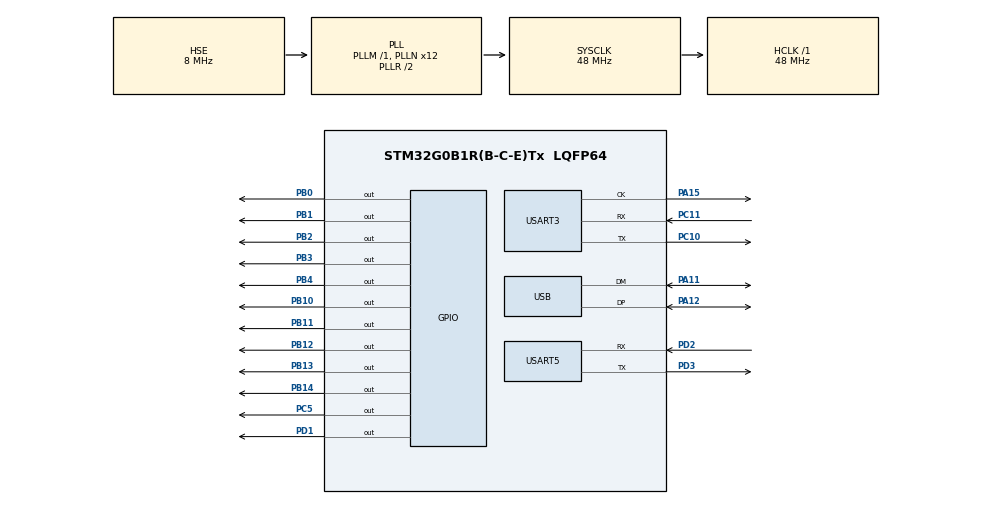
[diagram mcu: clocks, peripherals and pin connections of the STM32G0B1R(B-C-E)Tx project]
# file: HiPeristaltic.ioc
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Dma.Request0=USART5_RX
Dma.Request1=USART5_TX
Dma.USART5_RX.0.Direction=DMA_PERIPH_TO_MEMORY
Dma.USART5_RX.0.EventEnable=DISABLE
Dma.USART5_RX.0.Instance=DMA1_Channel1
Dma.USART5_RX.0.MemDataAlignment=DMA_MDATAALIGN_BYTE
Dma.USART5_RX.0.MemInc=DMA_MINC_ENABLE
Dma.USART5_RX.0.Mode=DMA_CIRCULAR
Dma.USART5_RX.0.PeriphDataAlignment=DMA_PDATAALIGN_BYTE
Dma.USART5_RX.0.PeriphInc=DMA_PINC_DISABLE
Dma.USART5_RX.0.Polarity=HAL_DMAMUX_REQ_GEN_RISING
Dma.USART5_RX.0.Priority=DMA_PRIORITY_LOW
Dma.USART5_RX.0.RequestNumber=1
Dma.USART5_RX.0.SignalID=NONE
Dma.USART5_RX.0.SyncEnable=DISABLE
Dma.USART5_RX.0.SyncPolarity=HAL_DMAMUX_SYNC_NO_EVENT
Dma.USART5_RX.0.SyncRequestNumber=1
Dma.USART5_RX.0.SyncSignalID=NONE
Dma.USART5_TX.1.Direction=DMA_MEMORY_TO_PERIPH
Dma.USART5_TX.1.EventEnable=DISABLE
Dma.USART5_TX.1.Instance=DMA1_Channel2
Dma.USART5_TX.1.MemDataAlignment=DMA_MDATAALIGN_BYTE
Dma.USART5_TX.1.MemInc=DMA_MINC_ENABLE
Dma.USART5_TX.1.Mode=DMA_NORMAL
Dma.USART5_TX.1.PeriphDataAlignment=DMA_PDATAALIGN_BYTE
Dma.USART5_TX.1.PeriphInc=DMA_PINC_DISABLE
Dma.USART5_TX.1.Polarity=HAL_DMAMUX_REQ_GEN_RISING
Dma.USART5_TX.1.Priority=DMA_PRIORITY_LOW
Dma.USART5_TX.1.RequestNumber=1
Dma.USART5_TX.1.SignalID=NONE
Dma.USART5_TX.1.SyncEnable=DISABLE
Dma.USART5_TX.1.SyncPolarity=HAL_DMAMUX_SYNC_NO_EVENT
Dma.USART5_TX.1.SyncRequestNumber=1
Dma.USART5_TX.1.SyncSignalID=NONE
Mcu.Family=STM32G0
Mcu.Name=STM32G0B1R(B-C-E)Tx
Mcu.Package=LQFP64
NVIC.DMA1_Channel1_IRQn=true\:0\:0\:false\:false\:true\:false\:true\:true
NVIC.DMA1_Channel2_3_IRQn=true\:0\:0\:false\:false\:true\:false\:true\:true
NVIC.USART3_4_5_6_LPUART1_IRQn=true\:0\:0\:false\:false\:true\:true\:true\:true
NVIC.USB_UCPD1_2_IRQn=true\:0\:0\:false\:false\:true\:true\:true\:true
PA11\ [PA9].Mode=Device
PA11\ [PA9].Signal=USB_DM
PA12\ [PA10].Mode=Device
PA12\ [PA10].Signal=USB_DP
PA15.Mode=Synchronous
PA15.Signal=USART3_CK
PB0.Signal=GPIO_Output
PB1.Signal=GPIO_Output
PB10.Signal=GPIO_Output
PB11.Signal=GPIO_Output
PB12.Signal=GPIO_Output
PB13.Signal=GPIO_Output
PB14.Signal=GPIO_Output
PB2.Signal=GPIO_Output
PB3.Signal=GPIO_Output
PB4.Signal=GPIO_Output
PC10.Mode=Synchronous
PC10.Signal=USART3_TX
PC11.Mode=Synchronous
PC11.Signal=USART3_RX
PC5.Signal=GPIO_Output
PD1.Signal=GPIO_Output
PD2.Mode=Asynchronous
PD2.Signal=USART5_RX
PD3.Mode=Asynchronous
PD3.Signal=USART5_TX
PF0-OSC_IN\ (PF0).Mode=HSE-External-Oscillator
PF0-OSC_IN\ (PF0).Signal=RCC_OSC_IN
PF1-OSC_OUT\ (PF1).Mode=HSE-External-Oscillator
PF1-OSC_OUT\ (PF1).Signal=RCC_OSC_OUT
ProjectManager.HeapSize=0x200
ProjectManager.StackSize=0x400
ProjectManager.TargetToolchain=STM32CubeIDE
RCC.ADCFreq_Value=48000000
RCC.AHBFreq_Value=48000000
RCC.CortexFreq_Value=48000000
RCC.EXTERNAL_CLOCK_VALUE=48000
RCC.HCLKFreq_Value=48000000
RCC.HSE_VALUE=8000000
RCC.HSI48_VALUE=48000000
RCC.HSI_VALUE=16000000
RCC.LSE_VALUE=32768
RCC.PLLN=12
RCC.PLLSourceVirtual=RCC_PLLSOURCE_HSE
RCC.SYSCLKFreq_VALUE=48000000
RCC.SYSCLKSource=RCC_SYSCLKSOURCE_PLLCLK
RCC.USBCLockSelection=RCC_USBCLKSOURCE_PLL
RCC.USBFreq_Value=48000000
RCC.VCOOutputFreq_Value=96000000
USART3.VirtualMode-Synchronous=VM_SYNC
USART5.VirtualMode-Asynchronous=VM_ASYNC
USB_DEVICE.CLASS_NAME_FS=CDC
USB_DEVICE.VirtualMode=Cdc
USB_DEVICE.VirtualModeFS=Cdc_FS
USB_DRD_FS.Sof_enable=DISABLE
VP_SYS_VS_DBSignals.Mode=DisableDeadBatterySignals
VP_TIM2_VS_ClockSourceINT.Mode=Internal
VP_USB_DEVICE_VS_USB_DEVICE_CDC_FS.Mode=CDC_FS
board=custom

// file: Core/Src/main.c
/* USER CODE BEGIN Header */
/**

  * Copyright 2025 Gun Deniz Akkoc
  *
  * Licensed under the Apache License, Version 2.0 (the "License");
  * you may not use this file except in compliance with the License.
  * You may obtain a copy of the License at
  *
  *    http://www.apache.org/licenses/LICENSE-2.0
  *
  * Unless required by applicable law or agreed to in writing, software
  * distributed under the License is distributed on an "AS IS" BASIS,
  * WITHOUT WARRANTIES OR CONDITIONS OF ANY KIND, either express or implied.
  * See the License for the specific language governing permissions and
  * limitations under the License.
  *
  * https://github.com/gunakkoc/HiPeristaltic

  ******************************************************************************
  * @file           : main.c
  * @brief          : Main program body
  ******************************************************************************
  * @attention
  *
  * Copyright (c) 2025 STMicroelectronics.
  * All rights reserved.
  *
  * This software is licensed under terms that can be found in the LICENSE file
  * in the root directory of this software component.
  * If no LICENSE file comes with this software, it is provided AS-IS.
  *
  ******************************************************************************
  */
/* USER CODE END Header */
#include "main.h"
#include "usb_device.h"

/* USER CODE BEGIN Includes */
#include "usbd_cdc_if.h"
#include "tmc2209_d.h"
#include <stdbool.h>
#include "stm32g0xx_hal.h"
/* USER CODE END Includes */

/* USER CODE BEGIN PTD */
typedef struct {
    GPIO_TypeDef *port;  // Pointer to the GPIO port (e.g., GPIOA, GPIOB)
    uint16_t pin;        // Pin number (0 to 15)
} GPIO_Pin;
/* USER CODE END PTD */

/* USER CODE BEGIN PD */
#define BUFFER_LEN 256
#define UART_BUFFER_LEN 256
#define MSG_LEN 6
#define USB_INTERMSG_DELAY_US 1300 //minimum 1000us for USB polling + 300us for safety
#define UART_INTERMSG_DELAY_US 366 //(MSGLEN / (115200 * 0.8)) * 1000000 = ~66us + 300us for safety
#define SERIAL_INTERBYTE_TIMEOUT_US 500000
#define MOTOR_MIN_PULSE_WIDTH_US 3 //1us for A4988, 2us for DRV8825, ~100ns for TMC2208 and TMC2209

#define tick_now TIM2->CNT
/* USER CODE END PD */

TIM_HandleTypeDef htim2;

USART_HandleTypeDef husart3;
UART_HandleTypeDef huart5;
DMA_HandleTypeDef hdma_usart5_rx;
DMA_HandleTypeDef hdma_usart5_tx;

/* USER CODE BEGIN PV */
extern USBD_HandleTypeDef hUsbDeviceFS;

const uint32_t SUB_US_DIV = 16;
const uint32_t USB_INTERMSG_DELAY = USB_INTERMSG_DELAY_US * SUB_US_DIV;
const uint32_t UART_INTERMSG_DELAY = UART_INTERMSG_DELAY_US * SUB_US_DIV;
const uint32_t SERIAL_INTERBYTE_TIMEOUT = SERIAL_INTERBYTE_TIMEOUT_US * SUB_US_DIV;
const uint32_t MOTOR_MIN_PULSE_WIDTH = MOTOR_MIN_PULSE_WIDTH_US * SUB_US_DIV;
const uint8_t CMD_COUNT = 68;

uint8_t rcv_buffer[BUFFER_LEN];
uint8_t rcv_usb_buffer[BUFFER_LEN];
uint8_t rcv_uart_buffer[UART_BUFFER_LEN];
uint8_t rcv_usb_write_ind = 0;
uint8_t rcv_usb_read_ind = 0;
uint8_t rcv_uart_write_ind = 0;
uint8_t rcv_uart_read_ind = 0;
uint8_t snd_buffer[BUFFER_LEN];
uint8_t rcv_usb_cnt = 0;
uint8_t rcv_uart_cnt = 0;
uint8_t snd_byte_cnt = MSG_LEN + 1;
uint32_t rcv_last_tick = 0;
uint32_t snd_last_tick = 0;
uint8_t checksum = 0;

const uint32_t min2us = 60000000;

uint32_t m0_tick_delta = 0;
uint32_t m1_tick_delta = 0;
uint32_t m2_tick_delta = 0;
uint32_t m3_tick_delta = 0;

// ------- START OF MOTOR PINS AND VARIABLES

// -----------------m0---------------------
const GPIO_Pin m0_enabled_pin = {GPIOB, GPIO_PIN_14};
const GPIO_Pin m0_dir_pin = {GPIOB, GPIO_PIN_12};
const GPIO_Pin m0_step_pin = {GPIOB, GPIO_PIN_13};

bool m0_running = false;
uint32_t m0_tick_last = 0;
uint32_t m0_steps = 0;
uint32_t m0_target_steps = 0;
uint8_t m0_finite_mode = 1; //0 for continuous mode, 1 for finite steps
bool m0_last_pulse = false;

bool m0_enabled_pin_state = true;
bool m0_dir_pin_state = false;
uint32_t m0_step_interval = 4000;

// -----------------m1---------------------
const GPIO_Pin m1_enabled_pin = {GPIOB, GPIO_PIN_11};
const GPIO_Pin m1_dir_pin = {GPIOB, GPIO_PIN_2};
const GPIO_Pin m1_step_pin = {GPIOB, GPIO_PIN_10};

bool m1_running = false;
uint32_t m1_tick_last = 0;
uint32_t m1_steps = 0;
uint32_t m1_target_steps = 0;
uint8_t m1_finite_mode = 1; //0 for continuous mode, 1 for finite steps
bool m1_last_pulse = false;

bool m1_enabled_pin_state = true;
bool m1_dir_pin_state = false;
uint32_t m1_step_interval = 4000;

//-----------------m2---------------------
const GPIO_Pin m2_enabled_pin = {GPIOB, GPIO_PIN_1};
const GPIO_Pin m2_dir_pin = {GPIOC, GPIO_PIN_5};
const GPIO_Pin m2_step_pin = {GPIOB, GPIO_PIN_0};

bool m2_running = false;
uint32_t m2_tick_last = 0;
uint32_t m2_steps = 0;
uint32_t m2_target_steps = 0;
uint8_t m2_finite_mode = 1; //0 for continuous mode, 1 for finite steps
bool m2_last_pulse = false;

bool m2_enabled_pin_state = true;
bool m2_dir_pin_state = false;
uint32_t m2_step_interval = 4000;

//-----------------m3--------------------- //FOR E1: EN D30, DIR D34, STP D36
const GPIO_Pin m3_enabled_pin = {GPIOD, GPIO_PIN_1};
const GPIO_Pin m3_dir_pin = {GPIOB, GPIO_PIN_4};
const GPIO_Pin m3_step_pin = {GPIOB, GPIO_PIN_3};

bool m3_running = false;
uint32_t m3_tick_last = 0;
uint32_t m3_steps = 0;
uint32_t m3_target_steps = 0;
uint8_t m3_finite_mode = 1; //0 for continuous mode, 1 for finite steps
bool m3_last_pulse = false;

bool m3_enabled_pin_state = true;
bool m3_dir_pin_state = false;
uint32_t m3_step_interval = 4000;
// ------- END OF MOTOR PINS AND VARIABLES

//tick_now defined in macro already
//uint32_t tick_now = 0;

// ###################################### Start TMC2209 Variables ######################################
#ifdef TMC2209_driver
extern TMC2209_CONF_t TMC2209_motors[4];
uint8_t TMC2209_ustep_exp_int_temp = 0;
uint32_t TMC2209_ustep_exp_bits_temp = 0;
#endif
// ###################################### END TMC2209 Variables ######################################

/* USER CODE END PV */

void SystemClock_Config(void);
static void MX_GPIO_Init(void);
static void MX_DMA_Init(void);
static void MX_TIM2_Init(void);
static void MX_USART3_Init(void);
static void MX_USART5_UART_Init(void);

/* USER CODE BEGIN 0 */
void motor_timer_init(void)
{
    // Enable TIM2 Clock
    __HAL_RCC_TIM2_CLK_ENABLE();

    // Configure TIM2
    TIM_HandleTypeDef htim2;
    htim2.Instance = TIM2;
    htim2.Init.Prescaler = (SystemCoreClock / (1000000 * SUB_US_DIV)) - 1; // Set prescaler for 1 MHz
    htim2.Init.CounterMode = TIM_COUNTERMODE_UP;
    htim2.Init.Period = 0xFFFFFFFF; // Max value for 32-bit timer
    htim2.Init.ClockDivision = TIM_CLOCKDIVISION_DIV1;
    htim2.Init.AutoReloadPreload = TIM_AUTORELOAD_PRELOAD_DISABLE;

    if (HAL_TIM_Base_Init(&htim2) != HAL_OK)
    {
        // Initialization Error
        while (1);
    }

    // Start Timer
    HAL_TIM_Base_Start(&htim2);
}

uint32_t micros(void)
{
    return TIM2->CNT; // Read the counter value
}

void calc_checksum() {
  //simple 8 bit checksum with XOR
  //appends it as last byte of snd_buffer
  checksum = snd_buffer[0] ^ snd_buffer[1] ^ snd_buffer[2] ^ snd_buffer[3] ^ snd_buffer[4];
  snd_buffer[MSG_LEN - 1] = checksum;
}

bool check_checksum() {
  //simple 8 bit checksum with XOR
  //compares to last byte of rcv_buffer
  checksum = rcv_buffer[0] ^ rcv_buffer[1] ^ rcv_buffer[2] ^ rcv_buffer[3] ^ rcv_buffer[4]; //5 bytes
  return (checksum == rcv_buffer[MSG_LEN - 1]);
}

void send_buffer(){
  calc_checksum();
  snd_byte_cnt = 0;
}

void err_checksum(){
  snd_buffer[0] = 255;
  send_buffer();
}

void err_cmd(){
  snd_buffer[0] = 254;
  send_buffer();
}

void send_ack(){
  snd_buffer[0] = 253;
  send_buffer();
}

void signal_start(){
  snd_buffer[0] = 252;
  snd_buffer[1] = 252;
  snd_buffer[2] = 252;
  snd_buffer[3] = 252;
  snd_buffer[4] = 252;
  send_buffer();
}

void signal_m0_end(){
  snd_buffer[0] = 200;
  send_buffer();
}

void signal_m1_end(){
  snd_buffer[0] = 201;
  send_buffer();
}

void signal_m2_end(){
  snd_buffer[0] = 202;
  send_buffer();
}

void signal_m3_end(){
  snd_buffer[0] = 203;
  send_buffer();
}

void get_m0_running(){
  snd_buffer[1] = m0_running;
  snd_buffer[0] = rcv_buffer[0];
  send_buffer();
}

void set_m0_running(){
  if ((bool) m0_running == (bool) rcv_buffer[1]) {
	    send_ack();
	    return;
  }
  m0_running = rcv_buffer[1];
  if (m0_running) {
    m0_last_pulse = false;
	HAL_GPIO_WritePin(m0_step_pin.port, m0_step_pin.pin, false);
    m0_tick_last = tick_now - m0_step_interval;
  }
  send_ack();
}

void get_m0_steps(){
  memcpy(snd_buffer+1,&m0_steps,4);
  snd_buffer[0] = rcv_buffer[0];
  send_buffer();
}

void set_m0_steps(){
  memcpy(&m0_steps,rcv_buffer+1,4);
  m0_target_steps = m0_steps;
  send_ack();
}

void get_m0_target_steps(){
  memcpy(snd_buffer+1,&m0_target_steps,4);
  snd_buffer[0] = rcv_buffer[0];
  send_buffer();
}

void set_m0_target_steps(){
  memcpy(&m0_target_steps,rcv_buffer+1,4);
  send_ack();
}

void get_m0_step_interval(){
  memcpy(snd_buffer+1,&m0_step_interval,4);
  snd_buffer[0] = rcv_buffer[0];
  send_buffer();
}

void set_m0_step_interval(){
  memcpy(&m0_step_interval,rcv_buffer+1,4);
  send_ack();
}

void get_m0_finite_mode(){
  snd_buffer[1] = m0_finite_mode;
  snd_buffer[0] = rcv_buffer[0];
  send_buffer();
}

void set_m0_finite_mode(){
  m0_finite_mode = rcv_buffer[1];
  send_ack();
}

void get_m0_dir(){
  snd_buffer[1] = m0_dir_pin_state;
  snd_buffer[0] = rcv_buffer[0];
  send_buffer();
}

void set_m0_dir(){
  m0_dir_pin_state = rcv_buffer[1];
  HAL_GPIO_WritePin(m0_dir_pin.port, m0_dir_pin.pin, m0_dir_pin_state);
  send_ack();
}

void get_m0_enabled(){
  snd_buffer[1] = !m0_enabled_pin_state;
  snd_buffer[0] = rcv_buffer[0];
  send_buffer();
}

void set_m0_enabled(){
  m0_enabled_pin_state = !rcv_buffer[1];
  HAL_GPIO_WritePin(m0_enabled_pin.port, m0_enabled_pin.pin, m0_enabled_pin_state);
  send_ack();
}

void get_m1_running(){
  snd_buffer[1] = m1_running;
  snd_buffer[0] = rcv_buffer[0];
  send_buffer();
}

void set_m1_running(){
  if ((bool) m1_running == (bool) rcv_buffer[1]) {
		send_ack();
		return;
  }
  m1_running = rcv_buffer[1];
  if (m1_running) {
    m1_last_pulse = false;
    HAL_GPIO_WritePin(m1_step_pin.port, m1_step_pin.pin, false);
    m1_tick_last = tick_now - m1_step_interval;
  }
  send_ack();
}

void get_m1_steps(){
  memcpy(snd_buffer+1,&m1_steps,4);
  snd_buffer[0] = rcv_buffer[0];
  send_buffer();
}

void set_m1_steps(){
  memcpy(&m1_steps,rcv_buffer+1,4);
  m1_target_steps = m1_steps;
  send_ack();
}

void get_m1_target_steps(){
  memcpy(snd_buffer+1,&m1_target_steps,4);
  snd_buffer[0] = rcv_buffer[0];
  send_buffer();
}

void set_m1_target_steps(){
  memcpy(&m1_target_steps,rcv_buffer+1,4);
  send_ack();
}

void get_m1_step_interval(){
  memcpy(snd_buffer+1,&m1_step_interval,4);
  snd_buffer[0] = rcv_buffer[0];
  send_buffer();
}

void set_m1_step_interval(){
  memcpy(&m1_step_interval,rcv_buffer+1,4);
  send_ack();
}

void get_m1_finite_mode(){
  snd_buffer[1] = m1_finite_mode;
  snd_buffer[0] = rcv_buffer[0];
  send_buffer();
}

void set_m1_finite_mode(){
  m1_finite_mode = rcv_buffer[1];
  send_ack();
}

void get_m1_dir(){
  snd_buffer[1] = m1_dir_pin_state;
  snd_buffer[0] = rcv_buffer[0];
  send_buffer();
}

void set_m1_dir(){
  m1_dir_pin_state = rcv_buffer[1];
  HAL_GPIO_WritePin(m1_dir_pin.port, m1_dir_pin.pin, m1_dir_pin_state);
  send_ack();
}

void get_m1_enabled(){
  snd_buffer[1] = !m1_enabled_pin_state;
  snd_buffer[0] = rcv_buffer[0];
  send_buffer();
}

void set_m1_enabled(){
  m1_enabled_pin_state = !rcv_buffer[1];
  HAL_GPIO_WritePin(m1_enabled_pin.port, m1_enabled_pin.pin, m1_enabled_pin_state);
  send_ack();
}

void get_m2_running(){
  snd_buffer[1] = m2_running;
  snd_buffer[0] = rcv_buffer[0];
  send_buffer();
}

void set_m2_running(){
  if ((bool) m2_running == (bool) rcv_buffer[1]) {
		send_ack();
		return;
  }
  m2_running = rcv_buffer[1];
  if (m2_running) {
    m2_last_pulse = false;
	HAL_GPIO_WritePin(m2_step_pin.port, m2_step_pin.pin, false);
    m2_tick_last = tick_now - m2_step_interval;
  }
  send_ack();
}

void get_m2_steps(){
  memcpy(snd_buffer+1,&m2_steps,4);
  snd_buffer[0] = rcv_buffer[0];
  send_buffer();
}

void set_m2_steps(){
  memcpy(&m2_steps,rcv_buffer+1,4);
  m2_target_steps = m2_steps;
  send_ack();
}

void get_m2_target_steps(){
  memcpy(snd_buffer+1,&m2_target_steps,4);
  snd_buffer[0] = rcv_buffer[0];
  send_buffer();
}

void set_m2_target_steps(){
  memcpy(&m2_target_steps,rcv_buffer+1,4);
  send_ack();
}

void get_m2_step_interval(){
  memcpy(snd_buffer+1,&m2_step_interval,4);
  snd_buffer[0] = rcv_buffer[0];
  send_buffer();
}

void set_m2_step_interval(){
  memcpy(&m2_step_interval,rcv_buffer+1,4);
  send_ack();
}

void get_m2_finite_mode(){
  snd_buffer[1] = m2_finite_mode;
  snd_buffer[0] = rcv_buffer[0];
  send_buffer();
}

void set_m2_finite_mode(){
  m2_finite_mode = rcv_buffer[1];
  send_ack();
}

void get_m2_dir(){
  snd_buffer[1] = m2_dir_pin_state;
  snd_buffer[0] = rcv_buffer[0];
  send_buffer();
}

void set_m2_dir(){
  m2_dir_pin_state = rcv_buffer[1];
  HAL_GPIO_WritePin(m2_dir_pin.port, m2_dir_pin.pin, m2_dir_pin_state);
  send_ack();
}

void get_m2_enabled(){
  snd_buffer[1] = !m2_enabled_pin_state;
  snd_buffer[0] = rcv_buffer[0];
  send_buffer();
}

void set_m2_enabled(){
  m2_enabled_pin_state = !rcv_buffer[1];
  HAL_GPIO_WritePin(m2_enabled_pin.port, m2_enabled_pin.pin, m2_enabled_pin_state);
  send_ack();
}

void get_m3_running(){
  snd_buffer[1] = m3_running;
  snd_buffer[0] = rcv_buffer[0];
  send_buffer();
}

void set_m3_running(){
  if ((bool) m3_running == (bool) rcv_buffer[1]) {
		send_ack();
		return;
  }
  m3_running = rcv_buffer[1];
  if (m3_running) {
    m3_last_pulse = false;
	HAL_GPIO_WritePin(m3_step_pin.port, m3_step_pin.pin, false);
    m3_tick_last = tick_now - m3_step_interval;
  }
  send_ack();
}

void get_m3_steps(){
  memcpy(snd_buffer+1,&m3_steps,4);
  snd_buffer[0] = rcv_buffer[0];
  send_buffer();
}

void set_m3_steps(){
  memcpy(&m3_steps,rcv_buffer+1,4);
  m3_target_steps = m3_steps;
  send_ack();
}

void get_m3_target_steps(){
  memcpy(snd_buffer+1,&m3_target_steps,4);
  snd_buffer[0] = rcv_buffer[0];
  send_buffer();
}

void set_m3_target_steps(){
  memcpy(&m3_target_steps,rcv_buffer+1,4);
  send_ack();
}

void get_m3_step_interval(){
  memcpy(snd_buffer+1,&m3_step_interval,4);
  snd_buffer[0] = rcv_buffer[0];
  send_buffer();
}

void set_m3_step_interval(){
  memcpy(&m3_step_interval,rcv_buffer+1,4);
  send_ack();
}

void get_m3_finite_mode(){
  snd_buffer[1] = m3_finite_mode;
  snd_buffer[0] = rcv_buffer[0];
  send_buffer();
}

void set_m3_finite_mode(){
  m3_finite_mode = rcv_buffer[1];
  send_ack();
}

void get_m3_dir(){
  snd_buffer[1] = m3_dir_pin_state;
  snd_buffer[0] = rcv_buffer[0];
  send_buffer();
}

void set_m3_dir(){
  m3_dir_pin_state = rcv_buffer[1];
  HAL_GPIO_WritePin(m3_dir_pin.port, m3_dir_pin.pin, m3_dir_pin_state);
  send_ack();
}

void get_m3_enabled(){
  snd_buffer[1] = !m3_enabled_pin_state;
  snd_buffer[0] = rcv_buffer[0];
  send_buffer();
}

void set_m3_enabled(){
  m3_enabled_pin_state = !rcv_buffer[1];
  HAL_GPIO_WritePin(m3_enabled_pin.port, m3_enabled_pin.pin, m3_enabled_pin_state);
  send_ack();
}

//variable microstepping is supported through TMC2209 UART for SKR Mini e3 v3
void get_m0_var_ustep_support(){
    snd_buffer[1] = true;
    snd_buffer[0] = rcv_buffer[0];
    send_buffer();
}

void get_m1_var_ustep_support(){
    snd_buffer[1] = true;
    snd_buffer[0] = rcv_buffer[0];
    send_buffer();
}

void get_m2_var_ustep_support(){
    snd_buffer[1] = true;
    snd_buffer[0] = rcv_buffer[0];
    send_buffer();
}

void get_m3_var_ustep_support(){
    snd_buffer[1] = true;
    snd_buffer[0] = rcv_buffer[0];
    send_buffer();
}

// ###################################### Start TMC2209 Commands ######################################

uint8_t TMC2209_usteps_exp_bits_to_int(uint32_t ustep){
	if (ustep == TMC2209_MSTEP1) {return 0;}
	if (ustep == TMC2209_MSTEP2) {return 1;}
	if (ustep == TMC2209_MSTEP4) {return 2;}
	if (ustep == TMC2209_MSTEP8) {return 3;}
	if (ustep == TMC2209_MSTEP16) {return 4;}
	if (ustep == TMC2209_MSTEP32) {return 5;}
	if (ustep == TMC2209_MSTEP64) {return 6;}
	if (ustep == TMC2209_MSTEP128) {return 7;}
	if (ustep == TMC2209_MSTEP256) {return 8;}
	return 4;
}

uint8_t TMC2209_usteps_exp_int_to_bits[] = {TMC2209_MSTEP1,TMC2209_MSTEP2,TMC2209_MSTEP4,TMC2209_MSTEP8,TMC2209_MSTEP16,TMC2209_MSTEP32,TMC2209_MSTEP64,TMC2209_MSTEP128,TMC2209_MSTEP256};

void get_m0_usteps_exp(){
  TMC2209_ustep_exp_int_temp = TMC2209_usteps_exp_bits_to_int(TMC2209_motors[0].CHOPCONF.fields.mres);
  snd_buffer[1] = TMC2209_ustep_exp_int_temp;
  snd_buffer[0] = rcv_buffer[0];
  send_buffer();
}

void set_m0_usteps_exp(){
  TMC2209_motors[0].CHOPCONF.fields.mres = TMC2209_usteps_exp_int_to_bits[rcv_buffer[1]];
  TMC2209_WriteRegister(TMC2209_motors[0].addr_motor, reg_CHOPCONF, TMC2209_motors[0].CHOPCONF.val);
  send_ack();
}

void get_m1_usteps_exp(){
  TMC2209_ustep_exp_int_temp = TMC2209_usteps_exp_bits_to_int(TMC2209_motors[1].CHOPCONF.fields.mres);
  snd_buffer[1] = TMC2209_ustep_exp_int_temp;
  snd_buffer[0] = rcv_buffer[0];
  send_buffer();
}

void set_m1_usteps_exp(){
  TMC2209_motors[1].CHOPCONF.fields.mres = TMC2209_usteps_exp_int_to_bits[rcv_buffer[1]];
  TMC2209_WriteRegister(TMC2209_motors[1].addr_motor, reg_CHOPCONF, TMC2209_motors[1].CHOPCONF.val);
  send_ack();
}

void get_m2_usteps_exp(){
  TMC2209_ustep_exp_int_temp = TMC2209_usteps_exp_bits_to_int(TMC2209_motors[2].CHOPCONF.fields.mres);
  snd_buffer[1] = TMC2209_ustep_exp_int_temp;
  snd_buffer[0] = rcv_buffer[0];
  send_buffer();
}

void set_m2_usteps_exp(){
  TMC2209_motors[2].CHOPCONF.fields.mres = TMC2209_usteps_exp_int_to_bits[rcv_buffer[1]];
  TMC2209_WriteRegister(TMC2209_motors[2].addr_motor, reg_CHOPCONF, TMC2209_motors[2].CHOPCONF.val);
  send_ack();
}

void get_m3_usteps_exp(){
  TMC2209_ustep_exp_int_temp = TMC2209_usteps_exp_bits_to_int(TMC2209_motors[3].CHOPCONF.fields.mres);
  snd_buffer[1] = TMC2209_ustep_exp_int_temp;
  snd_buffer[0] = rcv_buffer[0];
  send_buffer();
}

void set_m3_usteps_exp(){
  TMC2209_motors[3].CHOPCONF.fields.mres = TMC2209_usteps_exp_int_to_bits[rcv_buffer[1]];
  TMC2209_WriteRegister(TMC2209_motors[3].addr_motor, reg_CHOPCONF, TMC2209_motors[3].CHOPCONF.val);
  send_ack();
}
// ###################################### End TMC2209 Commands #######################################

void get_sub_us_divider(){
  memcpy(snd_buffer+1,&SUB_US_DIV,4);
  snd_buffer[0] = rcv_buffer[0];
  send_buffer();
}

void (*cmd_fnc_lst[])() = {
  &get_m0_running,
  &set_m0_running,
  &get_m0_steps,
  &set_m0_steps,
  &get_m0_target_steps,
  &set_m0_target_steps,
  &get_m0_step_interval,
  &set_m0_step_interval,
  &get_m0_finite_mode,
  &set_m0_finite_mode,
  &get_m0_dir,
  &set_m0_dir,
  &get_m0_enabled,
  &set_m0_enabled,
  &get_m1_running,
  &set_m1_running,
  &get_m1_steps,
  &set_m1_steps,
  &get_m1_target_steps,
  &set_m1_target_steps,
  &get_m1_step_interval,
  &set_m1_step_interval,
  &get_m1_finite_mode,
  &set_m1_finite_mode,
  &get_m1_dir,
  &set_m1_dir,
  &get_m1_enabled,
  &set_m1_enabled,
  &get_m2_running,
  &set_m2_running,
  &get_m2_steps,
  &set_m2_steps,
  &get_m2_target_steps,
  &set_m2_target_steps,
  &get_m2_step_interval,
  &set_m2_step_interval,
  &get_m2_finite_mode,
  &set_m2_finite_mode,
  &get_m2_dir,
  &set_m2_dir,
  &get_m2_enabled,
  &set_m2_enabled,
  &get_m3_running,
  &set_m3_running,
  &get_m3_steps,
  &set_m3_steps,
  &get_m3_target_steps,
  &set_m3_target_steps,
  &get_m3_step_interval,
  &set_m3_step_interval,
  &get_m3_finite_mode,
  &set_m3_finite_mode,
  &get_m3_dir,
  &set_m3_dir,
  &get_m3_enabled,
  &set_m3_enabled,
  &get_m0_var_ustep_support,
  &get_m1_var_ustep_support,
  &get_m2_var_ustep_support,
  &get_m3_var_ustep_support,
  &get_m0_usteps_exp,
  &set_m0_usteps_exp,
  &get_m1_usteps_exp,
  &set_m1_usteps_exp,
  &get_m2_usteps_exp,
  &set_m2_usteps_exp,
  &get_m3_usteps_exp,
  &set_m3_usteps_exp,
  &get_sub_us_divider,
};

bool process_commands_usb() {
  if (snd_byte_cnt < MSG_LEN){ //data needs sending
	  /*
	  if (snd_byte_cnt){ //if first byte no need delay checking, already flushed
		  if ((tick_now - snd_last_tick) <= USB_INTERMSG_DELAY) { //otherwise need to wait 1ms between transfers
			  return false; //wait if this time hasn't elapsed yet
		  }
	  }
	  CDC_Transmit_FS(&snd_buffer[snd_byte_cnt], 1);
      snd_byte_cnt++;
      */
	  CDC_Transmit_FS(snd_buffer, MSG_LEN);
      snd_last_tick = tick_now;
      snd_byte_cnt = MSG_LEN;
	  return true;
  } else if (snd_byte_cnt == MSG_LEN){ //all data have been sent, now needs flushing
	  if ((tick_now - snd_last_tick) <= USB_INTERMSG_DELAY) { //wait 1ms+ to flush
		  return false; //wait if this time hasn't elapsed yet
	  }
    snd_byte_cnt++; //everything flushed, we can move on
    return true;
  } else if (rcv_usb_cnt == MSG_LEN){ //entire package is received, process
    rcv_usb_cnt = 0;
    if (check_checksum()){
      if (rcv_buffer[0] > CMD_COUNT) {
    	  err_cmd();
    	  return true;
      }
      cmd_fnc_lst[rcv_buffer[0]](); //find the corresponding func by first byte as uint8
    } else {
      err_checksum();
    }
    return true; //continue reading (if any) on next cycle
  } else if (rcv_usb_write_ind - rcv_usb_read_ind){ //if nothing else to do and need reading
    rcv_last_tick = tick_now;
	rcv_buffer[rcv_usb_cnt] = rcv_usb_buffer[rcv_usb_read_ind];
	rcv_usb_read_ind++;
    rcv_usb_cnt++;
    return true;
  } else if ((rcv_usb_cnt) && ((tick_now - rcv_last_tick) > SERIAL_INTERBYTE_TIMEOUT)){ //inter-byte timeout
   	  rcv_usb_read_ind = rcv_usb_write_ind;
   	  rcv_usb_cnt = 0;
   	  return true;
  } else {
    return false; //nothing happened
  }
}

bool process_commands_uart() {
  if (snd_byte_cnt < MSG_LEN){ //data needs sending
	  //we can also send one byte at a time
	  //but with DMA, start sending all at once
	  //this DMA is not circular
	  HAL_UART_Transmit_DMA(&huart5, snd_buffer, MSG_LEN);
      snd_last_tick = tick_now;
      snd_byte_cnt = MSG_LEN;
	  return true;
  } else if (snd_byte_cnt == MSG_LEN){ //all data have been sent, now needs flushing
	  //in case of UART, UART tx completed signal
      return true; //return here to wait next cycle for the signal
  } else if (rcv_uart_cnt == MSG_LEN){ //entire package is received, process
    rcv_uart_cnt = 0;
    if (check_checksum()){
      if (rcv_buffer[0] > CMD_COUNT) {
    	  err_cmd();
    	  return true;
      }
      cmd_fnc_lst[rcv_buffer[0]](); //find the corresponding func by first byte as uint8
    } else {
      err_checksum();
    }
    return true; //continue reading (if any) on next cycle
  } else if (rcv_uart_write_ind - rcv_uart_read_ind){ //if nothing else to do and need reading
	rcv_last_tick = tick_now;
	rcv_buffer[rcv_uart_cnt] = rcv_uart_buffer[rcv_uart_read_ind];
	rcv_uart_read_ind++;
    rcv_uart_cnt++;
    return true;
  } else if ((rcv_uart_cnt) && ((tick_now - rcv_last_tick) > SERIAL_INTERBYTE_TIMEOUT)) {
	  rcv_uart_read_ind = rcv_uart_write_ind;
	  rcv_uart_cnt = 0;
  } else {
    return false; //nothing happened
  }
  return false; //nothing happened
}

// ###################################### Start TMC2209 Functions ######################################
/*
#ifdef TMC2209_driver

//both async mode and UART interrupts needs to be enabled for async receive
void HAL_UART_RxCpltCallback(UART_HandleTypeDef *huart) {
    if (huart->Instance == USART3) {  // Check if it's the correct UART
        TMC2209_write_ind++; //serves as signal that the transmission is completed.
    }
}

#endif
*/
// ###################################### END TMC2209 Functions ######################################

void m0step() {
  if (!m0_running){
    return;
  }
  if (m0_steps) {
    m0_tick_delta = (tick_now - m0_tick_last);
    if (m0_last_pulse) { //if high switch to low
      if (m0_tick_delta >= MOTOR_MIN_PULSE_WIDTH) { //check for min. motor driver pulse width
        m0_last_pulse = false;
	    HAL_GPIO_WritePin(m0_step_pin.port, m0_step_pin.pin, false);
        // return;
      } //else return;
    } else if (m0_tick_delta >= m0_step_interval) { //if low, check enough time has passed for high
      HAL_GPIO_WritePin(m0_step_pin.port, m0_step_pin.pin, true);
      m0_tick_last = tick_now;
      m0_last_pulse = true;
      m0_steps-=m0_finite_mode; //0 for continuous mode, 1 for finite steps
      // return;
    }
  } else if (m0_last_pulse) {
	  if (m0_tick_delta >= MOTOR_MIN_PULSE_WIDTH) {
		m0_last_pulse = false;
		HAL_GPIO_WritePin(m0_step_pin.port, m0_step_pin.pin, false);
	  }
  } else if (snd_byte_cnt > MSG_LEN) { //if no steps remaining and no message pending
      m0_running = false; //this will prevent reentering here
      signal_m0_end();
      // return;
  }
}

void m1step() {
  if (!m1_running){
    return;
  }
  if (m1_steps) {
    m1_tick_delta = (tick_now - m1_tick_last);
    if (m1_last_pulse) { //if high switch to low
      if (m1_tick_delta >= MOTOR_MIN_PULSE_WIDTH) { //check for min. motor driver pulse width
        m1_last_pulse = false;
	    HAL_GPIO_WritePin(m1_step_pin.port, m1_step_pin.pin, false);
        // return;
      } //else return;
    } else if (m1_tick_delta >= m1_step_interval) { //if low, check enough time has passed for high
      HAL_GPIO_WritePin(m1_step_pin.port, m1_step_pin.pin, true);
      m1_tick_last = tick_now;
      m1_last_pulse = true;
      m1_steps-=m1_finite_mode; //0 for continuous mode, 1 for finite steps
      // return;
    }
  } else if (m1_last_pulse) {
	  if (m1_tick_delta >= MOTOR_MIN_PULSE_WIDTH) {
		m1_last_pulse = false;
		HAL_GPIO_WritePin(m1_step_pin.port, m1_step_pin.pin, false);
	  }
  } else if (snd_byte_cnt > MSG_LEN) { //if no steps remaining and no message pending
      m1_running = false; //this will prevent reentering here
      signal_m1_end();
      // return;
  }
}

void m2step() {
  if (!m2_running){
    return;
  }
  if (m2_steps) {
    m2_tick_delta = (tick_now - m2_tick_last);
    if (m2_last_pulse) { //if high switch to low
      if (m2_tick_delta >= MOTOR_MIN_PULSE_WIDTH) { //check for min. motor driver pulse width
        m2_last_pulse = false;
	    HAL_GPIO_WritePin(m2_step_pin.port, m2_step_pin.pin, false);
        // return;
      } //else return;
    } else if (m2_tick_delta >= m2_step_interval) { //if low, check enough time has passed for high
      HAL_GPIO_WritePin(m2_step_pin.port, m2_step_pin.pin, true);
      m2_tick_last = tick_now;
      m2_last_pulse = true;
      m2_steps-=m2_finite_mode; //0 for continuous mode, 1 for finite steps
      // return;
    }
  } else if (m2_last_pulse) {
	  if (m2_tick_delta >= MOTOR_MIN_PULSE_WIDTH) {
		m2_last_pulse = false;
		HAL_GPIO_WritePin(m2_step_pin.port, m2_step_pin.pin, false);
	  }
  } else if (snd_byte_cnt > MSG_LEN) { //if no steps remaining and no message pending
      m2_running = false; //this will prevent reentering here
      signal_m2_end();
      // return;
  }
}

void m3step() {
  if (!m3_running){
    return;
  }
  if (m3_steps) {
    m3_tick_delta = (tick_now - m3_tick_last);
    if (m3_last_pulse) { //if high switch to low
      if (m3_tick_delta >= MOTOR_MIN_PULSE_WIDTH) { //check for min. motor driver pulse width
        m3_last_pulse = false;
	    HAL_GPIO_WritePin(m3_step_pin.port, m3_step_pin.pin, false);
        // return;
      } //else return;
    } else if (m3_tick_delta >= m3_step_interval) { //if low, check enough time has passed for high
      HAL_GPIO_WritePin(m3_step_pin.port, m3_step_pin.pin, true);
      m3_tick_last = tick_now;
      m3_last_pulse = true;
      m3_steps-=m3_finite_mode; //0 for continuous mode, 1 for finite steps
      // return;
    }
  } else if (m3_last_pulse) {
	  if (m3_tick_delta >= MOTOR_MIN_PULSE_WIDTH) {
		m3_last_pulse = false;
		HAL_GPIO_WritePin(m3_step_pin.port, m3_step_pin.pin, false);
	  }
  } else if (snd_byte_cnt > MSG_LEN) { //if no steps remaining and no message pending
      m3_running = false; //this will prevent reentering here
      signal_m3_end();
      // return;
  }
}

void HAL_UARTEx_RxEventCallback(UART_HandleTypeDef *huart, uint16_t Size) {
	if (huart->Instance == USART5){
		rcv_uart_write_ind = (uint8_t) Size; //here size is the position in the buffer, NOT the number of bytes read
	}
}

void HAL_UART_TxCpltCallback(UART_HandleTypeDef *huart) {
  if (huart->Instance == USART5) { //UART serial to PC
	  snd_byte_cnt = MSG_LEN + 1; //values > MSG_LEN means tx completed/flushed
  }
}

void setup() {

  //HAL_UART_Receive_DMA(&huart5, rcv_uart_buffer, MSG_LEN); //for normal DMA
  //HAL_UART_Receive_DMA(&huart5, rcv_uart_buffer, UART_BUFFER_LEN); //never stops with circular DMA
  HAL_UARTEx_ReceiveToIdle_DMA(&huart5, rcv_uart_buffer, UART_BUFFER_LEN); //triggers rx callback when idle OR buffer filled

  //-----MOTOR SETUP-------

  //-----------------M0---------------------
  HAL_GPIO_WritePin(m0_enabled_pin.port, m0_enabled_pin.pin, true);
  m0_dir_pin_state = true;
  HAL_GPIO_WritePin(m0_dir_pin.port, m0_dir_pin.pin, true);
  HAL_GPIO_WritePin(m0_step_pin.port, m0_step_pin.pin, false);
  m0_enabled_pin_state = false;
  HAL_GPIO_WritePin(m0_enabled_pin.port, m0_enabled_pin.pin, false);

  //-----------------M1---------------------
  HAL_GPIO_WritePin(m1_enabled_pin.port, m1_enabled_pin.pin, true);
  m1_dir_pin_state = true;
  HAL_GPIO_WritePin(m1_dir_pin.port, m1_dir_pin.pin, true);
  HAL_GPIO_WritePin(m1_step_pin.port, m1_step_pin.pin, false);
  m1_enabled_pin_state = false;
  HAL_GPIO_WritePin(m1_enabled_pin.port, m1_enabled_pin.pin, false);

  //-----------------m2---------------------
  HAL_GPIO_WritePin(m2_enabled_pin.port, m2_enabled_pin.pin, true);
  m2_dir_pin_state = true;
  HAL_GPIO_WritePin(m2_dir_pin.port, m2_dir_pin.pin, true);
  HAL_GPIO_WritePin(m2_step_pin.port, m2_step_pin.pin, false);
  m2_enabled_pin_state = false;
  HAL_GPIO_WritePin(m2_enabled_pin.port, m2_enabled_pin.pin, false);

  //-----------------m3---------------------
  HAL_GPIO_WritePin(m3_enabled_pin.port, m3_enabled_pin.pin, true);
  m3_dir_pin_state = true;
  HAL_GPIO_WritePin(m3_dir_pin.port, m3_dir_pin.pin, true);
  HAL_GPIO_WritePin(m3_step_pin.port, m3_step_pin.pin, false);
  m3_enabled_pin_state = false;
  HAL_GPIO_WritePin(m3_enabled_pin.port, m3_enabled_pin.pin, false);
  //-----------------------

  motor_timer_init();

  //tick_now = micros();

#ifdef TMC2209_driver
  TMC2209_Init(husart3);
#endif

  //signal_start();
}

/* USER CODE END 0 */

int main(void)
{

  /* MCU Configuration--------------------------------------------------------*/

  /* Reset of all peripherals, Initializes the Flash interface and the Systick. */
  HAL_Init();

  /* Configure the system clock */
  SystemClock_Config();

  /* Initialize all configured peripherals */
  MX_GPIO_Init();
  MX_DMA_Init();
  MX_USB_Device_Init();
  MX_TIM2_Init();
  MX_USART3_Init();
  MX_USART5_UART_Init();
  /* USER CODE BEGIN 2 */
  HAL_Delay(10);
  setup();
  HAL_Delay(10);
  /* USER CODE END 2 */

  /* Infinite loop */
  while (1)
  {

    /* USER CODE BEGIN 3 */

	  while (1){ //UART5 serial (115200)
		//tick_now defined in macro
		//tick_now = micros();
		if (hUsbDeviceFS.dev_state == USBD_STATE_CONFIGURED) { //since no VBUS sensing is possible on STM32G0
			HAL_UART_DeInit(&huart5);
			HAL_NVIC_DisableIRQ(DMA1_Channel1_IRQn);
			HAL_NVIC_DisableIRQ(DMA1_Channel2_3_IRQn);
			snd_byte_cnt = MSG_LEN + 1; //reset the send state, in case mid message.
			break; //as soon as USB is connected, switch to USB serial
			//otherwise stay on UART5
		}
		//Communicate
		process_commands_uart();
		//Step the motor if it is running and if delta time has passed
		m0step();
		m1step();
		m2step();
		m3step();
	  }

	  while (1){ //USB serial
		//tick_now defined in macro
		//tick_now = micros();
		//Communicate
		process_commands_usb();
		//Step the motor if it is running and if delta time has passed
		m0step();
		m1step();
		m2step();
		m3step();
	  }

  }
  /* USER CODE END 3 */
}

void SystemClock_Config(void)
{
  RCC_OscInitTypeDef RCC_OscInitStruct = {0};
  RCC_ClkInitTypeDef RCC_ClkInitStruct = {0};

  /** Configure the main internal regulator output voltage
  */
  HAL_PWREx_ControlVoltageScaling(PWR_REGULATOR_VOLTAGE_SCALE1);

  /** Initializes the RCC Oscillators according to the specified parameters
  * in the RCC_OscInitTypeDef structure.
  */
  RCC_OscInitStruct.OscillatorType = RCC_OSCILLATORTYPE_HSE;
  RCC_OscInitStruct.HSEState = RCC_HSE_ON;
  RCC_OscInitStruct.PLL.PLLState = RCC_PLL_ON;
  RCC_OscInitStruct.PLL.PLLSource = RCC_PLLSOURCE_HSE;
  RCC_OscInitStruct.PLL.PLLM = RCC_PLLM_DIV1;
  RCC_OscInitStruct.PLL.PLLN = 12;
  RCC_OscInitStruct.PLL.PLLP = RCC_PLLP_DIV2;
  RCC_OscInitStruct.PLL.PLLQ = RCC_PLLQ_DIV2;
  RCC_OscInitStruct.PLL.PLLR = RCC_PLLR_DIV2;
  if (HAL_RCC_OscConfig(&RCC_OscInitStruct) != HAL_OK)
  {
    Error_Handler();
  }

  /** Initializes the CPU, AHB and APB buses clocks
  */
  RCC_ClkInitStruct.ClockType = RCC_CLOCKTYPE_HCLK|RCC_CLOCKTYPE_SYSCLK
                              |RCC_CLOCKTYPE_PCLK1;
  RCC_ClkInitStruct.SYSCLKSource = RCC_SYSCLKSOURCE_PLLCLK;
  RCC_ClkInitStruct.AHBCLKDivider = RCC_SYSCLK_DIV1;
  RCC_ClkInitStruct.APB1CLKDivider = RCC_HCLK_DIV1;

  if (HAL_RCC_ClockConfig(&RCC_ClkInitStruct, FLASH_LATENCY_1) != HAL_OK)
  {
    Error_Handler();
  }
}

static void MX_TIM2_Init(void)
{

  TIM_ClockConfigTypeDef sClockSourceConfig = {0};
  TIM_MasterConfigTypeDef sMasterConfig = {0};

  htim2.Instance = TIM2;
  htim2.Init.Prescaler = 0;
  htim2.Init.CounterMode = TIM_COUNTERMODE_UP;
  htim2.Init.Period = 4294967295;
  htim2.Init.ClockDivision = TIM_CLOCKDIVISION_DIV1;
  htim2.Init.AutoReloadPreload = TIM_AUTORELOAD_PRELOAD_DISABLE;
  if (HAL_TIM_Base_Init(&htim2) != HAL_OK)
  {
    Error_Handler();
  }
  sClockSourceConfig.ClockSource = TIM_CLOCKSOURCE_INTERNAL;
  if (HAL_TIM_ConfigClockSource(&htim2, &sClockSourceConfig) != HAL_OK)
  {
    Error_Handler();
  }
  sMasterConfig.MasterOutputTrigger = TIM_TRGO_RESET;
  sMasterConfig.MasterSlaveMode = TIM_MASTERSLAVEMODE_DISABLE;
  if (HAL_TIMEx_MasterConfigSynchronization(&htim2, &sMasterConfig) != HAL_OK)
  {
    Error_Handler();
  }

}

static void MX_USART3_Init(void)
{

  husart3.Instance = USART3;
  husart3.Init.BaudRate = 115200;
  husart3.Init.WordLength = USART_WORDLENGTH_8B;
  husart3.Init.StopBits = USART_STOPBITS_1;
  husart3.Init.Parity = USART_PARITY_NONE;
  husart3.Init.Mode = USART_MODE_TX;
  husart3.Init.CLKPolarity = USART_POLARITY_LOW;
  husart3.Init.CLKPhase = USART_PHASE_1EDGE;
  husart3.Init.CLKLastBit = USART_LASTBIT_DISABLE;
  husart3.Init.ClockPrescaler = USART_PRESCALER_DIV1;
  husart3.SlaveMode = USART_SLAVEMODE_DISABLE;
  if (HAL_USART_Init(&husart3) != HAL_OK)
  {
    Error_Handler();
  }
  if (HAL_USARTEx_SetTxFifoThreshold(&husart3, USART_TXFIFO_THRESHOLD_1_8) != HAL_OK)
  {
    Error_Handler();
  }
  if (HAL_USARTEx_SetRxFifoThreshold(&husart3, USART_RXFIFO_THRESHOLD_1_8) != HAL_OK)
  {
    Error_Handler();
  }
  if (HAL_USARTEx_DisableFifoMode(&husart3) != HAL_OK)
  {
    Error_Handler();
  }

}

static void MX_USART5_UART_Init(void)
{

  huart5.Instance = USART5;
  huart5.Init.BaudRate = 115200;
  huart5.Init.WordLength = UART_WORDLENGTH_8B;
  huart5.Init.StopBits = UART_STOPBITS_1;
  huart5.Init.Parity = UART_PARITY_NONE;
  huart5.Init.Mode = UART_MODE_TX_RX;
  huart5.Init.HwFlowCtl = UART_HWCONTROL_NONE;
  huart5.Init.OverSampling = UART_OVERSAMPLING_16;
  huart5.Init.OneBitSampling = UART_ONE_BIT_SAMPLE_DISABLE;
  huart5.Init.ClockPrescaler = UART_PRESCALER_DIV1;
  huart5.AdvancedInit.AdvFeatureInit = UART_ADVFEATURE_NO_INIT;
  if (HAL_UART_Init(&huart5) != HAL_OK)
  {
    Error_Handler();
  }

}

static void MX_DMA_Init(void)
{

  /* DMA controller clock enable */
  __HAL_RCC_DMA1_CLK_ENABLE();

  /* DMA interrupt init */
  /* DMA1_Channel1_IRQn interrupt configuration */
  HAL_NVIC_SetPriority(DMA1_Channel1_IRQn, 0, 0);
  HAL_NVIC_EnableIRQ(DMA1_Channel1_IRQn);
  /* DMA1_Channel2_3_IRQn interrupt configuration */
  HAL_NVIC_SetPriority(DMA1_Channel2_3_IRQn, 0, 0);
  HAL_NVIC_EnableIRQ(DMA1_Channel2_3_IRQn);

}

static void MX_GPIO_Init(void)
{
  GPIO_InitTypeDef GPIO_InitStruct = {0};

  /* GPIO Ports Clock Enable */
  __HAL_RCC_GPIOC_CLK_ENABLE();
  __HAL_RCC_GPIOF_CLK_ENABLE();
  __HAL_RCC_GPIOB_CLK_ENABLE();
  __HAL_RCC_GPIOA_CLK_ENABLE();
  __HAL_RCC_GPIOD_CLK_ENABLE();

  /*Configure GPIO pin Output Level */
  HAL_GPIO_WritePin(GPIOC, GPIO_PIN_5, GPIO_PIN_RESET);

  /*Configure GPIO pin Output Level */
  HAL_GPIO_WritePin(GPIOB, GPIO_PIN_0|GPIO_PIN_1|GPIO_PIN_2|GPIO_PIN_10
                          |GPIO_PIN_11|GPIO_PIN_12|GPIO_PIN_13|GPIO_PIN_14
                          |GPIO_PIN_3|GPIO_PIN_4, GPIO_PIN_RESET);

  /*Configure GPIO pin Output Level */
  HAL_GPIO_WritePin(GPIOD, GPIO_PIN_1, GPIO_PIN_RESET);

  /*Configure GPIO pin : PC5 */
  GPIO_InitStruct.Pin = GPIO_PIN_5;
  GPIO_InitStruct.Mode = GPIO_MODE_OUTPUT_PP;
  GPIO_InitStruct.Pull = GPIO_NOPULL;
  GPIO_InitStruct.Speed = GPIO_SPEED_FREQ_LOW;
  HAL_GPIO_Init(GPIOC, &GPIO_InitStruct);

  /*Configure GPIO pins : PB0 PB1 PB2 PB10
                           PB11 PB12 PB13 PB14
                           PB3 PB4 */
  GPIO_InitStruct.Pin = GPIO_PIN_0|GPIO_PIN_1|GPIO_PIN_2|GPIO_PIN_10
                          |GPIO_PIN_11|GPIO_PIN_12|GPIO_PIN_13|GPIO_PIN_14
                          |GPIO_PIN_3|GPIO_PIN_4;
  GPIO_InitStruct.Mode = GPIO_MODE_OUTPUT_PP;
  GPIO_InitStruct.Pull = GPIO_NOPULL;
  GPIO_InitStruct.Speed = GPIO_SPEED_FREQ_LOW;
  HAL_GPIO_Init(GPIOB, &GPIO_InitStruct);

  /*Configure GPIO pin : PD1 */
  GPIO_InitStruct.Pin = GPIO_PIN_1;
  GPIO_InitStruct.Mode = GPIO_MODE_OUTPUT_PP;
  GPIO_InitStruct.Pull = GPIO_NOPULL;
  GPIO_InitStruct.Speed = GPIO_SPEED_FREQ_LOW;
  HAL_GPIO_Init(GPIOD, &GPIO_InitStruct);

}

void Error_Handler(void)
{
  __disable_irq();
  while (1)
  {
  }
}
